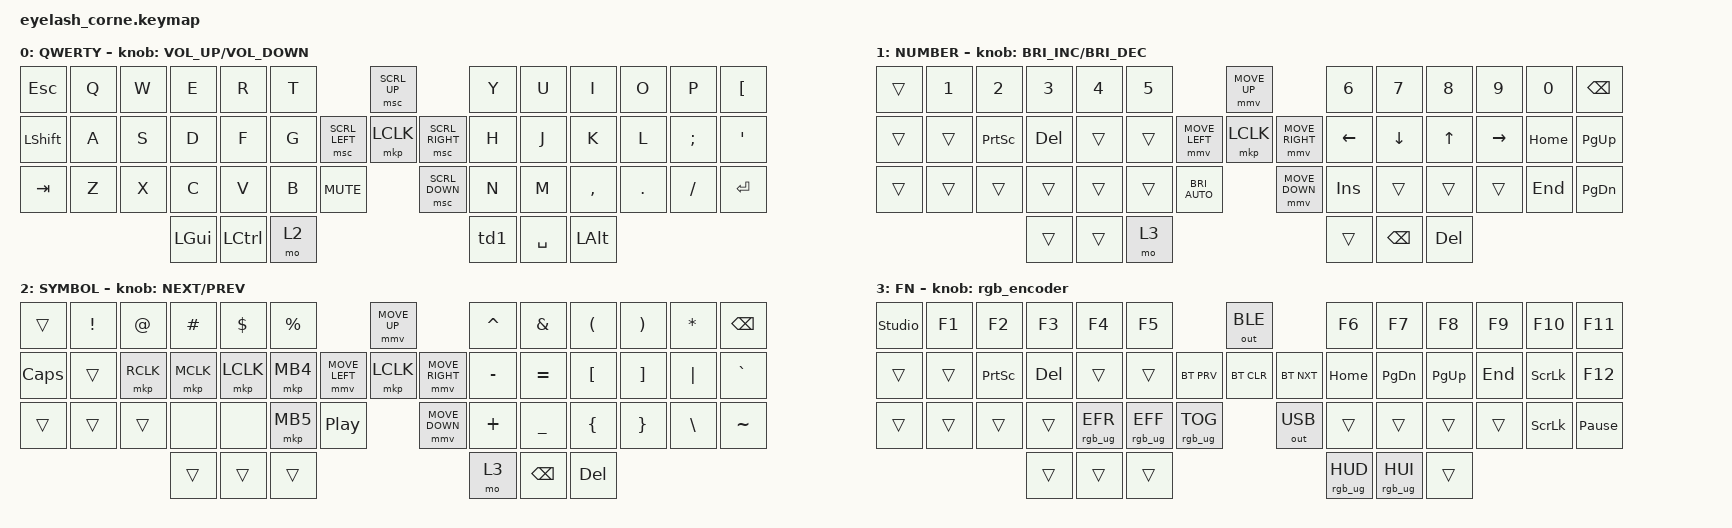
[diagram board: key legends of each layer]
#include <input/processors.dtsi>
#include <behaviors.dtsi>
#include <dt-bindings/zmk/bt.h>
#include <dt-bindings/zmk/keys.h>
#include <dt-bindings/zmk/mouse.h>
#include <dt-bindings/zmk/pointing.h>
#include <dt-bindings/zmk/outputs.h>
#include <dt-bindings/zmk/rgb.h>

/* Исправление разрешения энкодера */
&left_encoder {
    steps = <36>;
};

#define ZMK_MOUSE_DEFAULT_MOVE_VAL 3200  // 600
#define ZMK_MOUSE_DEFAULT_SCRL_VAL 30    // 10
#define CONFIG_ZMK_POINTING_SMOOTH_SCROLLING y

/ {
    behaviors {
        td1: td1 {
            compatible = "zmk,behavior-tap-dance";
            display-name = "Number/Menu";
            #binding-cells = <0>;
            bindings = <&mo 1>, <&kp K_CMENU>;
        };
    };

    rgb_encoder: rgb_encoder {
        compatible = "zmk,behavior-sensor-rotate";
        #sensor-binding-cells = <0>;
        bindings = <&rgb_ug RGB_BRI>, <&rgb_ug RGB_BRD>;
    };

    scroll_encoder: scroll_encoder {
        compatible = "zmk,behavior-sensor-rotate";
        #sensor-binding-cells = <0>;
        bindings = <&msc SCRL_DOWN>, <&msc SCRL_UP>;

        tap-ms = <30>;
    };

    keymap {
        compatible = "zmk,keymap";

        qwerty {
            display-name = "QWERTY";
            bindings = <
&kp ESC         &kp Q  &kp W  &kp E &kp R  &kp T                                   &msc SCRL_UP                      &kp Y          &kp U  &kp I      &kp O    &kp P     &kp LBKT
&kp LEFT_SHIFT  &kp A  &kp S  &kp D &kp F  &kp G                   &msc SCRL_LEFT  &mkp LCLK       &msc SCRL_RIGHT   &kp H          &kp J  &kp K      &kp L    &kp SEMI  &kp SQT
&kp TAB         &kp Z  &kp X  &kp C &kp V  &kp B      &kp C_MUTE                   &msc SCRL_DOWN                    &kp N          &kp M  &kp COMMA  &kp DOT  &kp FSLH  &kp RET
                                &kp LGUI  &kp LCTRL  &mo 2                                                     &td1  &kp SPACE  &kp LALT
            >;

            sensor-bindings = <&inc_dec_kp C_VOLUME_UP C_VOLUME_DOWN>;
        };

        number {
            display-name = "NUMBER";
            bindings = <
&trans  &kp N1   &kp N2           &kp N3        &kp N4        &kp N5                                   &mmv MOVE_UP                      &kp N6       &kp N7     &kp N8    &kp N9      &kp N0    &kp BSPC
&trans  &trans   &kp PRINTSCREEN  &kp DEL       &trans        &trans                   &mmv MOVE_LEFT  &mkp LCLK       &mmv MOVE_RIGHT   &kp LEFT     &kp DOWN   &kp UP    &kp RIGHT   &kp HOME  &kp PG_UP
&trans  &trans   &trans           &trans        &trans        &trans     &kp C_BRI_AUTO                &mmv MOVE_DOWN                    &kp INSERT   &trans     &trans    &trans      &kp END   &kp PG_DN
                                                &trans        &trans       &mo 3                                                      &trans      &kp BSPC     &kp DEL
            >;

            sensor-bindings = <&inc_dec_kp C_BRI_INC C_BRI_DEC>;
        };

        symbol {
            display-name = "SYMBOL";
            bindings = <
&trans    &kp EXCL      &kp AT        &kp HASH   &kp DLLR   &kp PRCNT                            &mmv MOVE_UP                      &kp CARET  &kp AMPS   &kp LPAR  &kp RPAR  &kp ASTRK &kp BSPC
&kp CAPS  &trans        &mkp RCLK     &mkp MCLK  &mkp LCLK  &mkp MB4             &mmv MOVE_LEFT  &mkp LCLK       &mmv MOVE_RIGHT   &kp MINUS  &kp EQUAL  &kp LBKT  &kp RBKT  &kp PIPE  &kp GRAVE
&trans    &trans        &trans        &none      &none      &mkp MB5   &kp C_PLAY_PAUSE          &mmv MOVE_DOWN                    &kp PLUS   &kp UNDER  &kp LBRC  &kp RBRC  &kp BSLH  &kp TILDE
                                      &trans     &trans     &trans                                                                 &mo 3      &kp BSPC   &kp DEL
            >;

            sensor-bindings = <&inc_dec_kp C_NEXT C_PREV>;
        };

        fn {
            display-name = "FN";
            bindings = <
&studio_unlock   &kp F1           &kp F2           &kp F3       &kp F4             &kp F5                                        &out OUT_BLE                     &kp F6           &kp F7           &kp F8           &kp F9      &kp F10          &kp F11
&trans           &trans           &kp PRINTSCREEN  &kp DEL      &trans             &trans                        &bt BT_PRV      &bt BT_CLR      &bt BT_NXT       &kp HOME         &kp PG_DN        &kp PG_UP        &kp END     &kp SCROLLLOCK   &kp F12
&trans           &trans           &trans           &trans       &rgb_ug RGB_EFR    &rgb_ug RGB_EFF   &rgb_ug RGB_TOG             &out OUT_USB                     &trans           &trans           &trans           &trans      &kp SCROLLLOCK   &kp PAUSE_BREAK
                                                   &trans       &trans             &trans                                                                         &rgb_ug RGB_HUD  &rgb_ug RGB_HUI  &trans
            >;

            sensor-bindings = <&rgb_encoder>;
        };

//         game {
//             sisplay-name = "GAME";
//             bindings = <
// &trans  &trans  &trans  &trans &trans  &trans                           &trans                    &trans  &trans  &trans  &trans  &trans  &trans
// &trans  &trans  &trans  &trans &trans  &trans                   &trans  &trans  &trans            &trans  &trans  &trans  &trans  &trans  &trans
// &trans  &trans  &trans  &trans &trans  &trans      &trans               &trans                    &trans  &trans  &trans  &trans  &trans  &trans
//                         &kp Z  &trans  &SPACE                                                     &trans  &trans  &trans
//             >;

//             sensor-bindings = <&inc_dec_kp C_VOLUME_UP C_VOLUME_DOWN>;
//         };
    };
};
